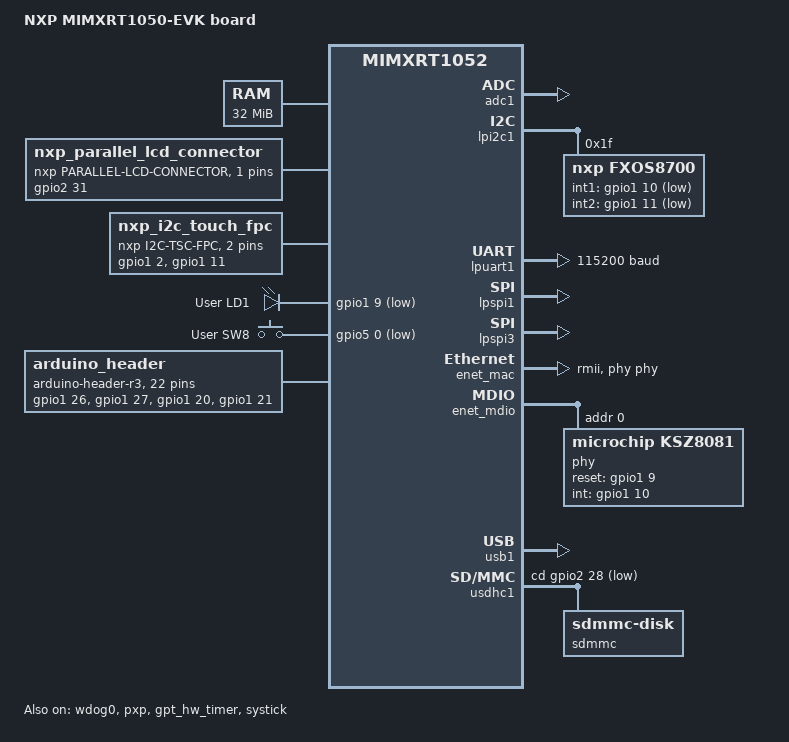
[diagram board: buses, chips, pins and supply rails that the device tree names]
/*
 * Copyright (c) 2017, NXP
 *
 * SPDX-License-Identifier: Apache-2.0
 */

/dts-v1/;

#include <nxp/nxp_rt1050.dtsi>
#include "mimxrt1050_evk-pinctrl.dtsi"
#include <zephyr/dt-bindings/input/input-event-codes.h>

/ {
	model = "NXP MIMXRT1050-EVK board";
	compatible = "nxp,mimxrt1052";

	aliases {
		led0 = &green_led;
		sw0 = &user_button;
		watchdog0 = &wdog0;
		magn0 = &fxos8700;
		accel0 = &fxos8700;
		sdhc0 = &usdhc1;
		mcuboot-button0 = &user_button;
	};

	chosen {
		zephyr,sram = &sdram0;
		zephyr,itcm = &itcm;
		zephyr,dtcm = &dtcm;
		zephyr,uart-mcumgr = &lpuart1;
		zephyr,console = &lpuart1;
		zephyr,shell-uart = &lpuart1;
	};

	sdram0: memory@80000000 {
		/* Micron MT48LC16M16A2B4-6AIT:G */
		device_type = "memory";
		reg = <0x80000000 DT_SIZE_M(32)>;
	};

	/*
	 * This node describes the GPIO pins of the parallel FPC interface,
	 * This interface is standard to several NXP EVKs, and is used with
	 * several parallel LCD displays (available as zephyr shields)
	 */
	nxp_parallel_lcd_connector: parallel-connector {
		compatible = "nxp,parallel-lcd-connector";
		#gpio-cells = <2>;
		gpio-map-mask = <0xffffffff 0xffffffc0>;
		gpio-map-pass-thru = <0 0x3f>;
		gpio-map =	<0  0 &gpio2 31 0>;	/* Pin 1, BL+ */
	};

	/*
	 * This node describes the GPIO pins of the I2C display FPC interface,
	 * This interface is standard to several NXP EVKs, and is used with
	 * several parallel LCD displays (available as zephyr shields)
	 */
	nxp_i2c_touch_fpc: i2c-touch-connector {
		compatible = "nxp,i2c-tsc-fpc";
		#gpio-cells = <2>;
		gpio-map-mask = <0xffffffff 0xffffffc0>;
		gpio-map-pass-thru = <0 0x3f>;
		gpio-map =	<1  0 &gpio1 2 0>,	/* Pin 2, LCD touch RST */
				<2  0 &gpio1 11 0>;	/* Pin 3, LCD touch INT */
	};

	leds {
		compatible = "gpio-leds";
		green_led: led_0 {
			gpios = <&gpio1 9 GPIO_ACTIVE_LOW>;
			label = "User LD1";
		};
	};

	gpio_keys {
		compatible = "gpio-keys";
		user_button: button_0 {
			label = "User SW8";
			gpios = <&gpio5 0 (GPIO_PULL_UP | GPIO_ACTIVE_LOW)>;
			zephyr,code = <INPUT_KEY_0>;
		};
	};

	arduino_header: connector {
		compatible = "arduino-header-r3";
		#gpio-cells = <2>;
		gpio-map-mask = <0xffffffff 0xffffffc0>;
		gpio-map-pass-thru = <0 0x3f>;
		gpio-map = <0 0 &gpio1 26 0>,	/* A0 */
			   <1 0 &gpio1 27 0>,	/* A1 */
			   <2 0 &gpio1 20 0>,	/* A2 */
			   <3 0 &gpio1 21 0>,	/* A3 */
			   <4 0 &gpio1 17 0>,	/* A4 */
			   <5 0 &gpio1 16 0>,	/* A5 */
			   <6 0 &gpio1 23 0>,	/* D0 */
			   <7 0 &gpio1 22 0>,	/* D1 */
			   <8 0 &gpio1 11 0>,	/* D2 */
			   <9 0 &gpio1 24 0>,	/* D3 */
			   <10 0 &gpio1 9 0>,	/* D4 */
			   <11 0 &gpio1 10 0>,	/* D5 */
			   <12 0 &gpio1 18 0>,	/* D6 */
			   <13 0 &gpio1 19 0>,	/* D7 */
			   <14 0 &gpio1 3 0>,	/* D8 */
			   <15 0 &gpio1 2 0>,	/* D9 */
			   <16 0 &gpio3 13 0>,	/* D10 */
			   <17 0 &gpio3 14 0>,	/* D11 */
			   <18 0 &gpio3 15 0>,	/* D12 */
			   <19 0 &gpio3 12 0>,	/* D13 */
			   <20 0 &gpio1 1 0>,	/* D14 */
			   <21 0 &gpio1 0 0>;	/* D15 */
	};
};

arduino_serial: &lpuart3 {
	pinctrl-0 = <&pinmux_lpuart3>;
	pinctrl-1 = <&pinmux_lpuart3_sleep>;
	pinctrl-names = "default", "sleep";
};

&adc1 {
	status = "okay";
	pinctrl-0 = <&pinmux_adc1>;
	pinctrl-names = "default";
};

nxp_touch_i2c: &lpi2c1 {};

zephyr_lcdif: &lcdif {
	pinctrl-0 = <&pinmux_lcdif>;
	pinctrl-names = "default";
};

&lpi2c1 {
	status = "okay";
	pinctrl-0 = <&pinmux_lpi2c1>;
	pinctrl-names = "default";

	fxos8700: fxos8700@1f {
		compatible = "nxp,fxos8700";
		reg = <0x1f>;

		/* Two zero ohm resistors (R263 and R264) isolate sensor
		 * interrupt gpios from the soc and are unpopulated by default.
		 * Note that if you populate them, they conflict with LCD and
		 * Ethernet interrupt gpios.
		 */
		int1-gpios = <&gpio1 10 GPIO_ACTIVE_LOW>;
		int2-gpios = <&gpio1 11 GPIO_ACTIVE_LOW>;
	};
};

&lpuart1 {
	status = "okay";
	current-speed = <115200>;
	pinctrl-0 = <&pinmux_lpuart1>;
	pinctrl-1 = <&pinmux_lpuart1_sleep>;
	pinctrl-names = "default", "sleep";
};

&lpspi1 {
	status = "okay";
	/* DMA channels 0 and 1, muxed to LPSPI1 RX and TX */
	dmas = <&edma0 0 13>, <&edma0 1 14>;
	dma-names = "rx", "tx";
	pinctrl-0 = <&pinmux_lpspi1>;
	pinctrl-names = "default";
};

&lpspi3 {
	status = "okay";
	/* DMA channels 2 and 3, muxed to LPSPI3 RX and TX */
	dmas = <&edma0 2 15>, <&edma0 3 16>;
	dma-names = "rx", "tx";
	pinctrl-0 = <&pinmux_lpspi3>;
	pinctrl-names = "default";
};

&enet_mac {
	status = "okay";
	pinctrl-0 = <&pinmux_enet>;
	pinctrl-names = "default";
	phy-handle = <&phy>;
	zephyr,random-mac-address;
	phy-connection-type = "rmii";
};

&enet_mdio {
	status = "okay";
	pinctrl-0 = <&pinmux_enet_mdio>;
	pinctrl-names = "default";
	phy: phy@0 {
		compatible = "microchip,ksz8081";
		reg = <0>;
		status = "okay";
		reset-gpios = <&gpio1 9 GPIO_ACTIVE_HIGH>;
		int-gpios = <&gpio1 10 GPIO_ACTIVE_HIGH>;
		microchip,interface-type = "rmii";
	};
};

&enet_ptp_clock {
	status = "okay";
	pinctrl-0 = <&pinmux_ptp>;
	pinctrl-names = "default";
};

zephyr_udc0: &usb1 {
	status = "okay";
};

&usdhc1 {
	status = "okay";
	pwr-gpios = <&gpio1 5 GPIO_ACTIVE_HIGH>;
	cd-gpios = <&gpio2 28 GPIO_ACTIVE_LOW>;
	pinctrl-0 = <&pinmux_usdhc1>;
	pinctrl-1 = <&pinmux_usdhc1_slow>;
	pinctrl-2 = <&pinmux_usdhc1_med>;
	pinctrl-3 = <&pinmux_usdhc1_fast>;
	pinctrl-names = "default", "slow", "med", "fast";
	sdmmc {
		compatible = "zephyr,sdmmc-disk";
		disk-name = "SD";
		status = "okay";
	};
};

&wdog0 {
	status = "okay";
};

&edma0 {
	status = "okay";
};

&pxp {
	status = "okay";
};

/* GPT and Systick are enabled. If power management is enabled, the GPT
 * timer will be used instead of systick, as allows the core clock to
 * be gated.
 */
&gpt_hw_timer {
	status = "okay";
};

&systick {
	status = "okay";
};
